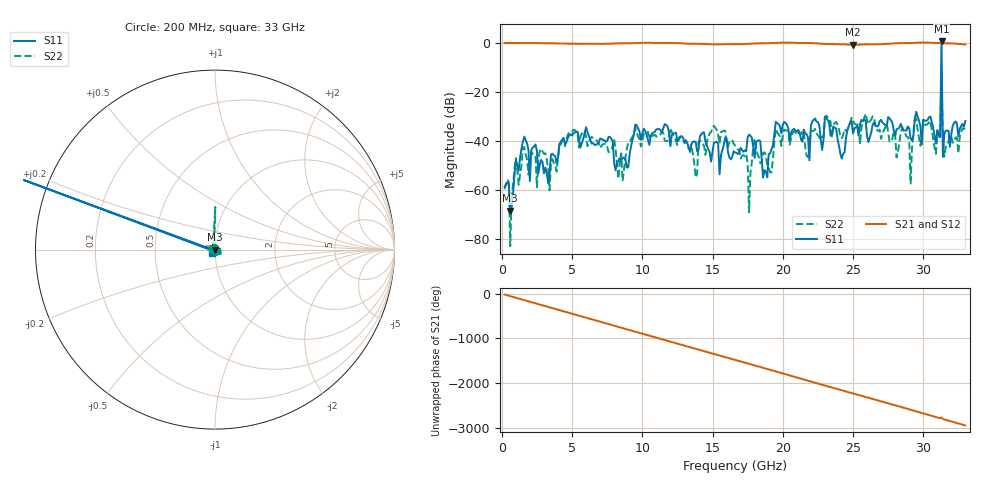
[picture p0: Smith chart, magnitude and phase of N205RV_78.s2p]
# GHZ S RI R 50
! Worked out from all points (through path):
!   329 points, 200 MHz to 33 GHz, reference 50 ohm
!   highest |S21| = 0.70 dB at 31.3 GHz (marker M1); lowest = -0.7 dB at 25 GHz (marker M2)
!   lowest |S11| = -68.5 dB at 600 MHz (marker M3), VSWR 1.00, Z = 50 + j0.00187 ohm
!   |S11| at or under -10 dB: start of sweep to 31.27 GHz; 31.32 GHz to end of sweep
!   |S22| runs from -83.0 to -12.5 dB; largest |S21 - S12| = 0.016
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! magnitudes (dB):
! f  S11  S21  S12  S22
! 200 MHz  -58.6  0.0  0.0  -59.8
! 500 MHz  -57.7  0.0  0.0  -56.8
! 600 MHz  -68.5  0.0  0.0  -83.0
! 1 GHz  -47.8  0.0  0.0  -47.1
! 3.4 GHz  -53.4  -0.1  -0.1  -60.2
! 5.7 GHz  -40.7  -0.3  -0.3  -36.9
! 8.6 GHz  -46.8  -0.1  -0.1  -56.4
! 9.5 GHz  -33.3  0.0  0.0  -34.6
! 11.2 GHz  -35.2  0.1  0.1  -37.6
! 13.8 GHz  -40.4  -0.3  -0.3  -55.0
! 16.6 GHz  -44.7  -0.4  -0.4  -41.9
! 17.4 GHz  -44.2  -0.4  -0.4  -45.4
! 17.6 GHz  -37.4  -0.2  -0.2  -69.2
! 18 GHz  -46.9  -0.1  -0.1  -39.1
! 22.1 GHz  -32.0  0.0  0.0  -36.0
! 25 GHz  -36.9  -0.7  -0.7  -31.2
! 27.6 GHz  -30.7  -0.2  -0.2  -40.3
! 30.9 GHz  -41.1  0.0  0.0  -45.3
! 31.2 GHz  -38.3  0.0  0.0  -38.5
! 31.3 GHz  1.1  0.7  0.6  -12.5
! 31.4 GHz  -46.5  -0.1  -0.1  -40.7
! 33 GHz  -31.8  -0.5  -0.5  -34.2
